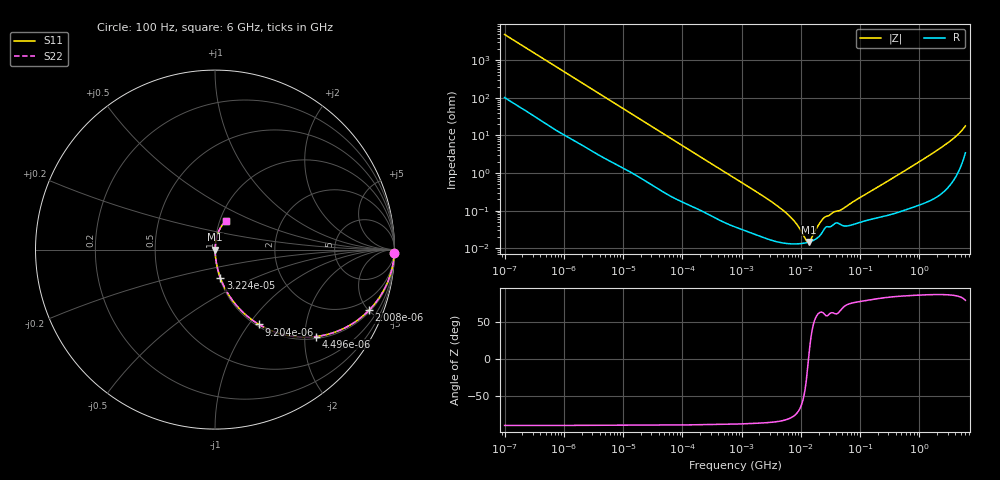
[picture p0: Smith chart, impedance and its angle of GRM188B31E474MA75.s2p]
!Murata Part Number: GRM188B31E474MA75
!These Parameters are Measured in Series Mode Connection
!Data Generated on Mar 30, 2021
!  o--ll--o
!Port1  Port2
!  o------o
!Operation Temp=25[degC], DC Bias Voltage=0[V]
!Freq. Start=100[Hz] Stop=6[GHz] 401[Steps]
# Hz S RI R 50
!Freq.(Hz) S11(Real) S11(Imag) S21(Real) S21(Imag) S12(Real) S12(Imag) S22(Real) S22(Imag)
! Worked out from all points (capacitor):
!   401 points, 100 Hz to 6 GHz, reference 50 ohm
!   read as one part in series: C = 326 nF near 109 Hz
!   lowest |Z| = 14.6 mohm at 13.6 MHz (marker M1)
!   series resonance near 13.49 MHz, so ESL is about 430 pH
!   S11 on the Smith chart (normalised r, x): 100 Hz: 3, -97; 2.008 kHz: 1.11, -5.03; 4.496 kHz: 1.05, -2.27; 9.204 kHz: 1.03, -1.12; 32.24 kHz: 1.01, -0.33; 6 GHz: 1.07, +0.35
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100  0.9991 -0.0206  0.000857 0.0206  0.000857 0.0206  0.9991 -0.0206
548  0.9858 -0.1085  0.0142 0.1085  0.0142 0.1085  0.9858 -0.1085
1174  0.9438 -0.2199  0.0562 0.2199  0.0562 0.2199  0.9438 -0.2199
2008  0.858 -0.3382  0.142 0.3382  0.142 0.3382  0.858 -0.3382
4496  0.5618 -0.4846  0.4382 0.4846  0.4382 0.4846  0.5618 -0.4846
9204  0.245 -0.4172  0.755 0.4172  0.755 0.4172  0.245 -0.4172
15752  0.1052 -0.2934  0.8948 0.2934  0.8948 0.2934  0.1052 -0.2934
32244  0.0303 -0.1581  0.9697 0.1581  0.9697 0.1581  0.0303 -0.1581
40335  0.0205 -0.1282  0.9795 0.1282  0.9795 0.1282  0.0205 -0.1282
129199  0.00315 -0.0416  0.9968 0.0416  0.9968 0.0416  0.00315 -0.0416
774597  0.000422 -0.00723  0.9996 0.00723  0.9996 0.00723  0.000422 -0.00723
5311619  0.000137 -0.000939  0.9999 0.000939  0.9999 0.000939  0.000137 -0.000939
7947587  0.000131 -0.000488  0.9999 0.000488  0.9999 0.000488  0.000131 -0.000488
1.189169e7  0.000139 -0.000112  0.9999 0.000112  0.9999 0.000112  0.000139 -0.000112
1.360128e7  0.000146 7.7e-06  0.9999 -7.7e-06  0.9999 -7.7e-06  0.000146 7.7e-06
1.555665e7  0.000157 0.000129  0.9998 -0.000129  0.9998 -0.000129  0.000157 0.000129
2.035112e7  0.000207 0.000389  0.9998 -0.000389  0.9998 -0.000389  0.000207 0.000389
2.545746e7  0.000342 0.000587  0.9997 -0.000587  0.9997 -0.000587  0.000342 0.000587
4.983056e7  0.000408 0.00101  0.9996 -0.00101  0.9996 -0.00101  0.000408 0.00101
3.124326e8  0.000812 0.00645  0.9992 -0.00645  0.9992 -0.00645  0.000812 0.00645
2.450438e9  0.00543 0.0497  0.9946 -0.0497  0.9946 -0.0497  0.00543 0.0497
6e9  0.0608 0.1605  0.9392 -0.1605  0.9392 -0.1605  0.0608 0.1605
